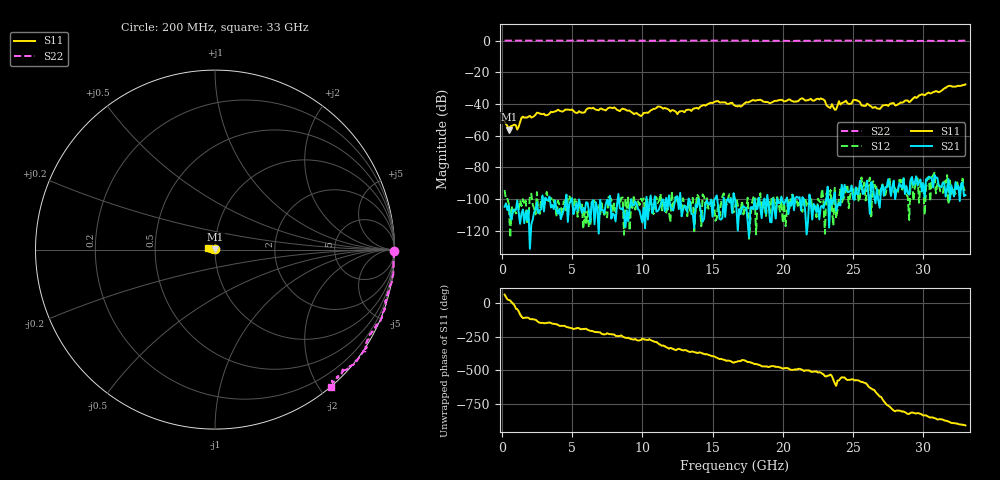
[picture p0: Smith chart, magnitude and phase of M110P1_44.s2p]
# GHZ S RI R 50
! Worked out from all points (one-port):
!   329 points, 200 MHz to 33 GHz, reference 50 ohm
!   lowest |S11| = -56.2 dB at 500 MHz (marker M1), VSWR 1.00, Z = 50.1 + j0.0658 ohm
!   |S11| at or under -10 dB: start of sweep to end of sweep
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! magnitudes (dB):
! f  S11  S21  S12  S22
! 200 MHz  -50.9  -105.0  -94.4  0.0
! 500 MHz  -56.2  -104.1  -103.0  0.0
! 900 MHz  -52.9  -107.5  -106.7  0.0
! 1.1 GHz  -56.2  -100.9  -108.9  0.0
! 1.5 GHz  -48.0  -106.7  -100.1  0.0
! 2.5 GHz  -45.5  -102.2  -95.7  0.0
! 5.7 GHz  -45.6  -108.8  -103.5  0.0
! 8 GHz  -42.2  -110.1  -103.0  0.0
! 9.9 GHz  -47.6  -111.2  -99.9  0.0
! 11.2 GHz  -41.7  -106.3  -101.1  -0.1
! 12.5 GHz  -46.5  -98.3  -101.7  -0.1
! 15.3 GHz  -38.3  -97.8  -112.4  0.0
! 16.6 GHz  -41.1  -100.2  -104.9  0.0
! 17.9 GHz  -37.5  -106.6  -99.0  -0.1
! 22.1 GHz  -37.8  -113.0  -105.8  -0.1
! 22.9 GHz  -37.2  -106.0  -101.5  0.0
! 23.7 GHz  -43.7  -95.7  -92.6  0.0
! 24 GHz  -38.3  -102.6  -99.9  0.0
! 25.1 GHz  -37.4  -100.6  -100.4  0.0
! 26.9 GHz  -43.2  -105.6  -99.1  0.0
! 27.6 GHz  -40.3  -90.6  -86.5  -0.1
! 33 GHz  -27.7  -97.6  -94.2  0.0
